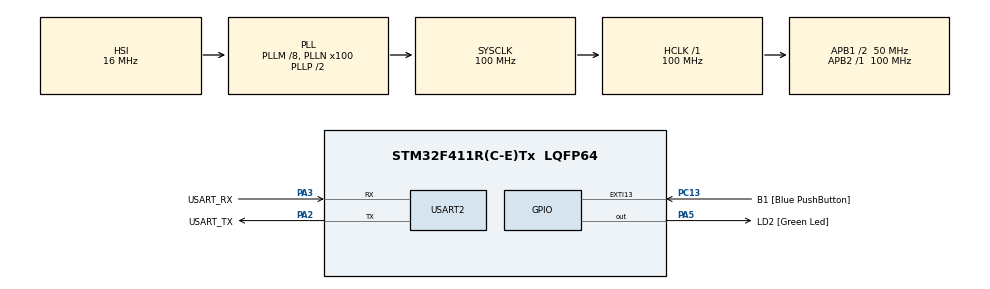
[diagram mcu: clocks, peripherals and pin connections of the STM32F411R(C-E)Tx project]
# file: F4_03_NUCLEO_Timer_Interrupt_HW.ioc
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Mcu.Family=STM32F4
Mcu.Name=STM32F411R(C-E)Tx
Mcu.Package=LQFP64
NVIC.PriorityGroup=NVIC_PRIORITYGROUP_0
NVIC.TIM1_TRG_COM_TIM11_IRQn=true\:0\:0\:false\:false\:true\:true\:true\:true
NVIC.USART2_IRQn=true\:0\:0\:false\:false\:true\:true\:true\:true
PA13.GPIO_Label=TMS
PA13.Mode=Serial_Wire
PA13.Signal=SYS_JTMS-SWDIO
PA14.GPIO_Label=TCK
PA14.Mode=Serial_Wire
PA14.Signal=SYS_JTCK-SWCLK
PA2.GPIO_Label=USART_TX
PA2.Mode=Asynchronous
PA2.Signal=USART2_TX
PA3.GPIO_Label=USART_RX
PA3.Mode=Asynchronous
PA3.Signal=USART2_RX
PA5.GPIO_Label=LD2 [Green Led]
PA5.Signal=GPIO_Output
PB3.GPIO_Label=SWO
PB3.Signal=SYS_JTDO-SWO
PC13-ANTI_TAMP.GPIO_Label=B1 [Blue PushButton]
PC13-ANTI_TAMP.GPIO_ModeDefaultEXTI=GPIO_MODE_IT_FALLING
PC13-ANTI_TAMP.Signal=GPXTI13
PC14-OSC32_IN.Mode=LSE-External-Oscillator
PC14-OSC32_IN.Signal=RCC_OSC32_IN
PC15-OSC32_OUT.Mode=LSE-External-Oscillator
PC15-OSC32_OUT.Signal=RCC_OSC32_OUT
PH0\ -\ OSC_IN.Mode=HSE-External-Clock-Source
PH0\ -\ OSC_IN.Signal=RCC_OSC_IN
PH1\ -\ OSC_OUT.Mode=HSE-External-Clock-Source
PH1\ -\ OSC_OUT.Signal=RCC_OSC_OUT
ProjectManager.HeapSize=0x200
ProjectManager.StackSize=0x400
ProjectManager.TargetToolchain=STM32CubeIDE
RCC.48MHZClocksFreq_Value=50000000
RCC.AHBFreq_Value=100000000
RCC.APB1CLKDivider=RCC_HCLK_DIV2
RCC.APB1Freq_Value=50000000
RCC.APB1TimFreq_Value=100000000
RCC.APB2Freq_Value=100000000
RCC.APB2TimFreq_Value=100000000
RCC.CortexFreq_Value=100000000
RCC.FLatency-AdvancedSettings=FLASH_LATENCY_3
RCC.HCLKFreq_Value=100000000
RCC.HSE_VALUE=8000000
RCC.HSI_VALUE=16000000
RCC.PLLM=8
RCC.PLLN=100
RCC.SYSCLKFreq_VALUE=100000000
RCC.SYSCLKSource=RCC_SYSCLKSOURCE_PLLCLK
RCC.VCOOutputFreq_Value=200000000
TIM11.AutoReloadPreload=TIM_AUTORELOAD_PRELOAD_DISABLE
TIM11.ClockDivision=TIM_CLOCKDIVISION_DIV1
TIM11.Period=99
TIM11.Prescaler=999
USART2.VirtualMode=VM_ASYNC
VP_TIM11_VS_ClockSourceINT.Mode=Enable_Timer
board=NUCLEO-F411RE

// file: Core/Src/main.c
/* USER CODE BEGIN Header */
/**
  ******************************************************************************
  * @file           : main.c
  * @brief          : Main program body
  ******************************************************************************
  * @attention
  *
  * Copyright (c) 2023 STMicroelectronics.
  * All rights reserved.
  *
  * This software is licensed under terms that can be found in the LICENSE file
  * in the root directory of this software component.
  * If no LICENSE file comes with this software, it is provided AS-IS.
  *
  ******************************************************************************
  */
/* USER CODE END Header */
#include "main.h"
#include "tim.h"
#include "usart.h"
#include "gpio.h"

/* USER CODE BEGIN Includes */
#include "string.h"
#include "stdbool.h"
/* USER CODE END Includes */

/* USER CODE BEGIN PD */
#define DELAY 2000									// delay in milliseconds
#define FREQ 0.2									// frequency in Hz
/* USER CODE END PD */

/* USER CODE BEGIN PV */
const char red_on[] = "\rRED_ON!\n";
const char blue_on[] = "\rBLUE_ON!\n";
const char orange_on[] = "\rORANGE_ON!\n";
const char green_on[] = "\rGREEN_ON!\n";
const char red_off[] = "\rRED_OFF!\n";
const char blue_off[] = "\rBLUE_OFF!\n";
const char orange_off[] = "\rORANGE_OFF!\n";
const char green_off[] = "\rGREEN_OFF!\n";
uint8_t state = 0;
uint16_t counter = 0;
uint16_t blinking_delay;							// delay in milliseconds
volatile bool blinking = true;
/* USER CODE END PV */

void SystemClock_Config(void);
/* USER CODE BEGIN PFP */
void HAL_TIM_PeriodElapsedCallback(TIM_HandleTypeDef *htim);
void LB_UART_LED_State_Message (uint8_t * led_state, volatile bool * mode);
/* USER CODE END PFP */

int main(void)
{

  /* MCU Configuration--------------------------------------------------------*/

  /* Reset of all peripherals, Initializes the Flash interface and the Systick. */
  HAL_Init();

  /* Configure the system clock */
  SystemClock_Config();

  /* Initialize all configured peripherals */
  MX_GPIO_Init();
  MX_USART2_UART_Init();
  MX_TIM11_Init();
  /* USER CODE BEGIN 2 */
  HAL_TIM_Base_Start_IT(&htim11);
  blinking_delay = (uint16_t) 1000.0 / FREQ;
  /* USER CODE END 2 */

  /* Infinite loop */
  while (1)
  {

  }
}

void SystemClock_Config(void)
{
  RCC_OscInitTypeDef RCC_OscInitStruct = {0};
  RCC_ClkInitTypeDef RCC_ClkInitStruct = {0};

  /** Configure the main internal regulator output voltage
  */
  __HAL_RCC_PWR_CLK_ENABLE();
  __HAL_PWR_VOLTAGESCALING_CONFIG(PWR_REGULATOR_VOLTAGE_SCALE1);

  /** Initializes the RCC Oscillators according to the specified parameters
  * in the RCC_OscInitTypeDef structure.
  */
  RCC_OscInitStruct.OscillatorType = RCC_OSCILLATORTYPE_HSI;
  RCC_OscInitStruct.HSIState = RCC_HSI_ON;
  RCC_OscInitStruct.HSICalibrationValue = RCC_HSICALIBRATION_DEFAULT;
  RCC_OscInitStruct.PLL.PLLState = RCC_PLL_ON;
  RCC_OscInitStruct.PLL.PLLSource = RCC_PLLSOURCE_HSI;
  RCC_OscInitStruct.PLL.PLLM = 8;
  RCC_OscInitStruct.PLL.PLLN = 100;
  RCC_OscInitStruct.PLL.PLLP = RCC_PLLP_DIV2;
  RCC_OscInitStruct.PLL.PLLQ = 4;
  if (HAL_RCC_OscConfig(&RCC_OscInitStruct) != HAL_OK)
  {
    Error_Handler();
  }

  /** Initializes the CPU, AHB and APB buses clocks
  */
  RCC_ClkInitStruct.ClockType = RCC_CLOCKTYPE_HCLK|RCC_CLOCKTYPE_SYSCLK
                              |RCC_CLOCKTYPE_PCLK1|RCC_CLOCKTYPE_PCLK2;
  RCC_ClkInitStruct.SYSCLKSource = RCC_SYSCLKSOURCE_PLLCLK;
  RCC_ClkInitStruct.AHBCLKDivider = RCC_SYSCLK_DIV1;
  RCC_ClkInitStruct.APB1CLKDivider = RCC_HCLK_DIV2;
  RCC_ClkInitStruct.APB2CLKDivider = RCC_HCLK_DIV1;

  if (HAL_RCC_ClockConfig(&RCC_ClkInitStruct, FLASH_LATENCY_3) != HAL_OK)
  {
    Error_Handler();
  }
}

/* USER CODE BEGIN 4 */
void HAL_TIM_PeriodElapsedCallback(TIM_HandleTypeDef *htim)
{
	if (TIM11 == htim->Instance && blinking)
	{
		if (blinking_delay == counter++)
		{
			counter = 0;
			LB_UART_LED_State_Message(&state, &blinking);
		}
	}
	if (TIM11 == htim->Instance && !blinking)
	{
		HAL_GPIO_WritePin(LD2_GPIO_Port, LD2_Pin, GPIO_PIN_SET);
		if (DELAY == counter++)
		{
			counter = blinking_delay;
			HAL_GPIO_WritePin(LD2_GPIO_Port, LD2_Pin, GPIO_PIN_RESET);
			blinking = true;
		}
	}
}

void LB_UART_LED_State_Message (uint8_t * led_state, volatile bool * mode)
{
	{
		if (0 == *led_state)
		{
			HAL_UART_Transmit_IT(&huart2, (uint8_t *) red_on, strlen(red_on));
		}
		else if (1 == *led_state)
		{
			HAL_UART_Transmit_IT(&huart2, (uint8_t *) blue_on, strlen(blue_on));
		}
		else if (2 == *led_state)
		{
			HAL_UART_Transmit_IT(&huart2, (uint8_t *) orange_on, strlen(orange_on));
		}
		else if (3 == *led_state)
		{
			HAL_UART_Transmit_IT(&huart2, (uint8_t *) green_on, strlen(green_on));
		}
		else if (4 == *led_state)
		{
			HAL_UART_Transmit_IT(&huart2, (uint8_t *) red_off, strlen(red_off));
		}
		else if (5 == *led_state)
		{
			HAL_UART_Transmit_IT(&huart2, (uint8_t *) blue_off, strlen(blue_off));
		}
		else if (6 == *led_state)
		{
			HAL_UART_Transmit_IT(&huart2, (uint8_t *) orange_off, strlen(orange_off));
		}
		else
		{
			HAL_UART_Transmit_IT(&huart2, (uint8_t *) green_off, strlen(green_off));
		}
		(*led_state)++;
		if (*led_state > 7)
		{
			*mode = false;
			*led_state = 0;
		}
	}
}

/* USER CODE END 4 */

void Error_Handler(void)
{
  __disable_irq();
  while (1)
  {
  }
}
